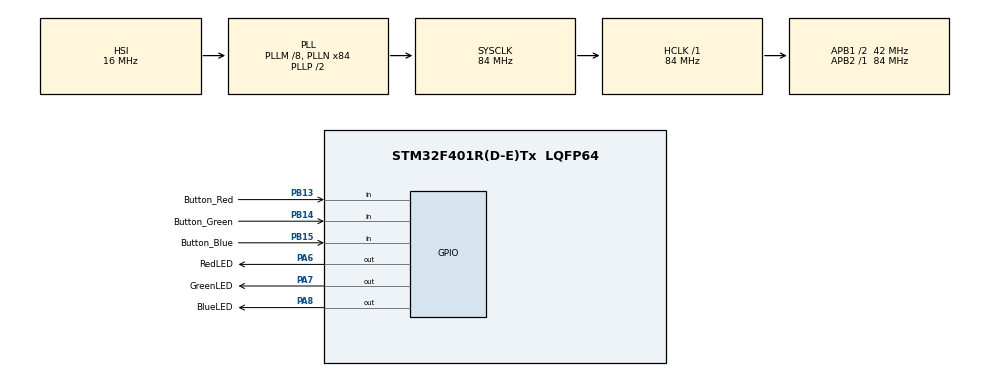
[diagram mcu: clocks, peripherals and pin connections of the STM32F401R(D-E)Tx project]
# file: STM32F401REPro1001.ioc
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Mcu.Family=STM32F4
Mcu.Name=STM32F401R(D-E)Tx
Mcu.Package=LQFP64
NVIC.PriorityGroup=NVIC_PRIORITYGROUP_4
PA13.Mode=Serial_Wire
PA13.Signal=SYS_JTMS-SWDIO
PA14.Mode=Serial_Wire
PA14.Signal=SYS_JTCK-SWCLK
PA6.GPIO_Label=RedLED
PA6.Signal=GPIO_Output
PA7.GPIO_Label=GreenLED
PA7.Signal=GPIO_Output
PA8.GPIO_Label=BlueLED
PA8.Signal=GPIO_Output
PB13.GPIO_Label=Button_Red
PB13.Signal=GPIO_Input
PB14.GPIO_Label=Button_Green
PB14.Signal=GPIO_Input
PB15.GPIO_Label=Button_Blue
PB15.Signal=GPIO_Input
PH0\ -\ OSC_IN.Mode=HSE-External-Oscillator
PH0\ -\ OSC_IN.Signal=RCC_OSC_IN
PH1\ -\ OSC_OUT.Mode=HSE-External-Oscillator
PH1\ -\ OSC_OUT.Signal=RCC_OSC_OUT
ProjectManager.HeapSize=0x200
ProjectManager.StackSize=0x400
ProjectManager.TargetToolchain=STM32CubeIDE
RCC.48MHZClocksFreq_Value=42000000
RCC.AHBFreq_Value=84000000
RCC.APB1CLKDivider=RCC_HCLK_DIV2
RCC.APB1Freq_Value=42000000
RCC.APB1TimFreq_Value=84000000
RCC.APB2Freq_Value=84000000
RCC.APB2TimFreq_Value=84000000
RCC.CortexFreq_Value=84000000
RCC.HCLKFreq_Value=84000000
RCC.HSE_VALUE=25000000
RCC.HSI_VALUE=16000000
RCC.LSE_VALUE=32768
RCC.PLLM=8
RCC.PLLN=84
RCC.SYSCLKFreq_VALUE=84000000
RCC.SYSCLKSource=RCC_SYSCLKSOURCE_PLLCLK
RCC.VCOOutputFreq_Value=168000000
board=custom

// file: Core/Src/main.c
/* USER CODE BEGIN Header */
/**
  ******************************************************************************
  * @file           : main.c
  * @brief          : Main program body
  ******************************************************************************
  * @attention
  *
  * <h2><center>&copy; Copyright (c) 2021 STMicroelectronics.
  * All rights reserved.</center></h2>
  *
  * This software component is licensed by ST under BSD 3-Clause license,
  * the "License"; You may not use this file except in compliance with the
  * License. You may obtain a copy of the License at:
  *                        opensource.org/licenses/BSD-3-Clause
  *
  ******************************************************************************
  */
/* USER CODE END Header */
#include "main.h"
#include "gpio.h"

/* USER CODE BEGIN PM */
#define RedSelect 1
#define GreenSelect 2
#define BlueSelect 4
/* USER CODE END PM */

/* USER CODE BEGIN PV */
   int mInputKeyRed=0;
   int mInputKeyGreen=0;
   int mInputKeyBlue=0;
   int mGameStart=0;
   int mGameLevel=0;
   int mInput=0;
   int mOutPut=0;
   int mRightRS=0;
   int mWin=7;
   int mInputConter=0;
   //int mFlashConter=0；
  int StepValue[10]={RedSelect,GreenSelect,BlueSelect,RedSelect,GreenSelect,BlueSelect,RedSelect,GreenSelect,BlueSelect,GreenSelect};
  int mFlashConter=0;
  int mflashStep=0;
  int mGameOver=BlueSelect;
  /* USER CODE END PV */

void SystemClock_Config(void);

/* USER CODE BEGIN 0 */
void GetInput(void)
	{
	if(HAL_GPIO_ReadPin(GPIOB, Button_Red_Pin))
		mInputKeyRed=0;//无输入
	else
		mInputKeyRed++;//有输入

	if(HAL_GPIO_ReadPin(GPIOB, Button_Green_Pin))
		mInputKeyGreen=0 ;//无输入
	else
		mInputKeyGreen++;//有输入
	mInput=mInput<<1;
	if(HAL_GPIO_ReadPin(GPIOB, Button_Blue_Pin))
		mInputKeyBlue=0 ;//无输入
	else
		mInputKeyBlue++;//有输入
	mInput=0;
	if(mInputKeyRed>5)
		mInput=1;
	mInput=mInput<<1;
	if(mInputKeyGreen>5)
		mInput++;
	mInput=mInput<<1;
	if(mInputKeyBlue>5)
		mInput++;
	if(mInput>0)
		mInputConter++;
	else
		mInputConter=0;
	if(mInputConter>1000)
		mInputConter=1000;
   // if(mInputConter==10)
	//mOutPut=mInput;
   // if(mInputConter==0)
    //	mOutPut=0;

	}
void OutPut(void)
	{
	int OutputTemp=mOutPut;
	if(OutputTemp%2)
		HAL_GPIO_WritePin(GPIOA, BlueLED_Pin, GPIO_PIN_SET);//输出高，点亮灯
	else
		HAL_GPIO_WritePin(GPIOA, BlueLED_Pin, GPIO_PIN_RESET);//输出高，灭灯
	OutputTemp=OutputTemp>>1;
	if(OutputTemp%2)
			HAL_GPIO_WritePin(GPIOA, GreenLED_Pin, GPIO_PIN_SET);//输出高，点亮灯
	else
			HAL_GPIO_WritePin(GPIOA, GreenLED_Pin, GPIO_PIN_RESET);//输出高，灭灯
	OutputTemp=OutputTemp>>1;
	if(OutputTemp%2)
		HAL_GPIO_WritePin(GPIOA, RedLED_Pin, GPIO_PIN_SET);//输出高，点亮灯
	else
	   HAL_GPIO_WritePin(GPIOA, RedLED_Pin, GPIO_PIN_RESET);//输出高，灭灯

	}
void Game(void)
	{
	if(mGameLevel==0)//限制空闲人时候可以开始
		if(mInput==(GreenSelect))//红的和绿的同时按下进入第一轮
		{
			if(mInputConter==30)
				mGameLevel=1;
		}

	if(mGameLevel==5)//胜利了，蓝按建复位
			if(mInput==(RedSelect))//红的和绿的同时按下进入第一轮
			{
				if(mInputConter==30)
					{
					mGameLevel=0;
					mOutPut=0;
					}
			}
	if(mGameLevel==6)//胜利了，蓝按建复位
				if(mInput==(RedSelect))//红的和绿的同时按下进入第一轮
				{
					if(mInputConter==30)
						{
						mGameLevel=0;
						mOutPut=0;
						}
				}
	if(mGameLevel==1)// 闪烁两次步进
		{
			mFlashConter++;//闪烁计数加

			if((mFlashConter/100)>=4)//闪烁两次
				{
					mFlashConter=0;
				    mflashStep++;
					if(mflashStep>9)//如果设定的流程走完返回重新循环
						mflashStep=0;
				}
			if(((mFlashConter/100)%2)==1)//100是闪烁时间,奇数的时候灭
					mOutPut=0;
			else
					mOutPut=StepValue[mflashStep];//输出当前步
			mRightRS=StepValue[mflashStep];//获得正确的结果
		}

	if(mGameLevel==2)// 闪烁3次步进
		{
			mFlashConter++;//闪烁计数加

			if((mFlashConter/100)>=6)//闪烁两次
				{
					mFlashConter=0;
				    mflashStep++;
					if(mflashStep>9)//如果设定的流程走完返回重新循环
						mflashStep=0;
				}
			if(((mFlashConter/100)%2)==1)//100是闪烁时间,奇数的时候灭
					mOutPut=0;
			else
					mOutPut=StepValue[mflashStep];//输出当前步
			mRightRS=StepValue[mflashStep];//获得正确的结果
		}

	if(mGameLevel==3)// 闪烁4次步进
		{
			mFlashConter++;//闪烁计数加

			if((mFlashConter/100)>=8)//闪烁两次
				{
					mFlashConter=0;
				    mflashStep++;
					if(mflashStep>9)//如果设定的流程走完返回重新循环
						mflashStep=0;
				}
			if(((mFlashConter/100)%2)==1)//100是闪烁时间,奇数的时候灭
					mOutPut=0;
			else
					mOutPut=StepValue[mflashStep];//输出当前步
			mRightRS=StepValue[mflashStep];//获得正确的结果
		}

	if(mGameLevel==4)// 闪烁5次步进
		{
			mFlashConter++;//闪烁计数加

			if((mFlashConter/100)>=10)//闪烁两次
				{
					mFlashConter=0;
				    mflashStep++;
					if(mflashStep>9)//如果设定的流程走完返回重新循环
						mflashStep=0;
				}
			if(((mFlashConter/100)%2)==1)//100是闪烁时间,奇数的时候灭
					mOutPut=0;
			else
					mOutPut=StepValue[mflashStep];//输出当前步
			mRightRS=StepValue[mflashStep];//获得正确的结果
		}
	if(mGameLevel==5)// 答错了锁定他
		{
			mOutPut=mGameOver;
		}
	if(mGameLevel==6)// 胜利了，所有灯亮起来
		{
			mOutPut=mWin;
		}
	//check 按键；
	if(mInputConter==10)
	if((mGameLevel<5)&(mGameLevel>0))
	{
		if(mInput==mRightRS)//判断按键是正确的。
			{
			 mRightRS=0;
			 mOutPut=0;
			 if(mGameLevel==4)
				 mGameLevel=6;//胜利了
			 else
				 mGameLevel++;//进入下一级
			}
		else//判断按键是错的。
			mGameLevel=5;
	}

	}
/* USER CODE END 0 */

int main(void)
{

  /* MCU Configuration--------------------------------------------------------*/

  /* Reset of all peripherals, Initializes the Flash interface and the Systick. */
  HAL_Init();

  /* Configure the system clock */
  SystemClock_Config();

  /* Initialize all configured peripherals */
  MX_GPIO_Init();

  /* Infinite loop */
  /* USER CODE BEGIN WHILE */
  while (1)
  {
	 //  HAL_GPIO_WritePin(GPIOA, RedLED_Pin|GreenLED_Pin|BlueLED_Pin, GPIO_PIN_RESET);
	  GetInput();
	  Game();
	  OutPut();
	  HAL_Delay(1);
     // HAL_GPIO_TogglePin(GPIOA, RedLED_Pin);
      //HAL_GPIO_ReadPin(GPIOB, Button_Green_Pin);
     // HAL_GPIO_WritePin(GPIOA, GreenLED_Pin, HAL_GPIO_ReadPin(GPIOB, Button_Green_Pin));
    /* USER CODE END WHILE */

  }
}

void SystemClock_Config(void)
{
  RCC_OscInitTypeDef RCC_OscInitStruct = {0};
  RCC_ClkInitTypeDef RCC_ClkInitStruct = {0};

  /** Configure the main internal regulator output voltage
  */
  __HAL_RCC_PWR_CLK_ENABLE();
  __HAL_PWR_VOLTAGESCALING_CONFIG(PWR_REGULATOR_VOLTAGE_SCALE2);
  /** Initializes the RCC Oscillators according to the specified parameters
  * in the RCC_OscInitTypeDef structure.
  */
  RCC_OscInitStruct.OscillatorType = RCC_OSCILLATORTYPE_HSI;
  RCC_OscInitStruct.HSIState = RCC_HSI_ON;
  RCC_OscInitStruct.HSICalibrationValue = RCC_HSICALIBRATION_DEFAULT;
  RCC_OscInitStruct.PLL.PLLState = RCC_PLL_ON;
  RCC_OscInitStruct.PLL.PLLSource = RCC_PLLSOURCE_HSI;
  RCC_OscInitStruct.PLL.PLLM = 8;
  RCC_OscInitStruct.PLL.PLLN = 84;
  RCC_OscInitStruct.PLL.PLLP = RCC_PLLP_DIV2;
  RCC_OscInitStruct.PLL.PLLQ = 4;
  if (HAL_RCC_OscConfig(&RCC_OscInitStruct) != HAL_OK)
  {
    Error_Handler();
  }
  /** Initializes the CPU, AHB and APB buses clocks
  */
  RCC_ClkInitStruct.ClockType = RCC_CLOCKTYPE_HCLK|RCC_CLOCKTYPE_SYSCLK
                              |RCC_CLOCKTYPE_PCLK1|RCC_CLOCKTYPE_PCLK2;
  RCC_ClkInitStruct.SYSCLKSource = RCC_SYSCLKSOURCE_PLLCLK;
  RCC_ClkInitStruct.AHBCLKDivider = RCC_SYSCLK_DIV1;
  RCC_ClkInitStruct.APB1CLKDivider = RCC_HCLK_DIV2;
  RCC_ClkInitStruct.APB2CLKDivider = RCC_HCLK_DIV1;

  if (HAL_RCC_ClockConfig(&RCC_ClkInitStruct, FLASH_LATENCY_2) != HAL_OK)
  {
    Error_Handler();
  }
}

void Error_Handler(void)
{
  __disable_irq();
  while (1)
  {
  }
}

/************************ (C) COPYRIGHT STMicroelectronics *****END OF FILE****/
